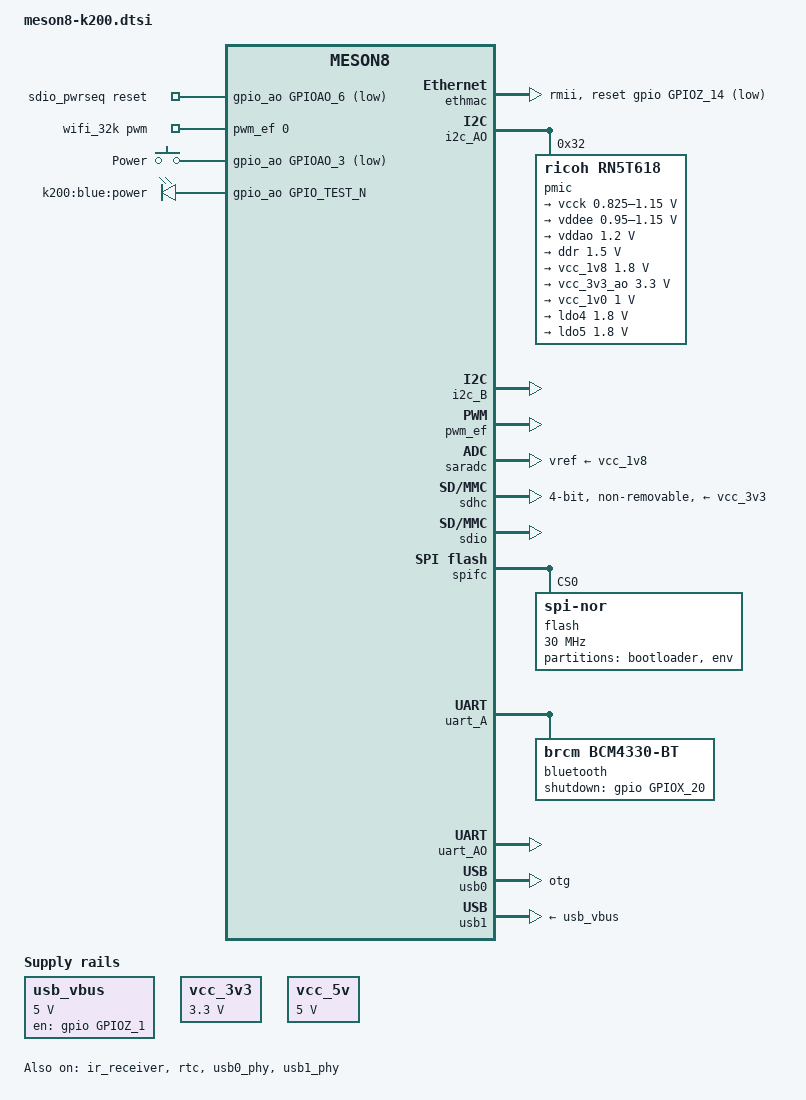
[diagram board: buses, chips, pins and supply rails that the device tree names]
// SPDX-License-Identifier: GPL-2.0 OR MIT
/*
 * Copyright 2025 Gianluca
 *
 * Common device tree for Amlogic Meson8 K200 TV Box variants
 *
 * Hardware:
 * - SoC: Amlogic S802 (Meson8) quad-core Cortex-A9
 * - Storage: 8GB NAND (Hynix H27UCG8T2E) - NOT eMMC!
 * - WiFi: Broadcom BCM40181A2 (AP6330 module) on SDIO
 * - Bluetooth: Broadcom BCM40183 (AP6330 combo)
 * - Ethernet: 10/100 internal PHY (PHY ID 02430c54)
 * - PMIC: Ricoh RN5T618F
 *
 * Note: NAND storage requires vendor FTL driver not available in mainline.
 * This DTS is suitable for netboot/NFS root or SD card boot.
 */

#include <dt-bindings/gpio/gpio.h>
#include <dt-bindings/input/input.h>
#include <dt-bindings/interrupt-controller/irq.h>

/ {
	aliases {
		serial0 = &uart_AO;
		mmc0 = &sd_card_slot;
		mmc1 = &sdhc;
	};

	chosen {
		stdout-path = "serial0:115200n8";
	};

	sdio_pwrseq: sdio-pwrseq {
		compatible = "mmc-pwrseq-simple";
		reset-gpios = <&gpio_ao GPIOAO_6 GPIO_ACTIVE_LOW>;
		clocks = <&wifi_32k>;
		clock-names = "ext_clock";
	};

	wifi_32k: wifi-32k {
		compatible = "pwm-clock";
		#clock-cells = <0>;
		clock-frequency = <32768>;
		pwms = <&pwm_ef 0 30518 0>; /* PWM_E at 32.768kHz */
	};

	gpio-keys {
		compatible = "gpio-keys-polled";
		poll-interval = <100>;

		power-button {
			label = "Power";
			linux,code = <KEY_POWER>;
			gpios = <&gpio_ao GPIOAO_3 GPIO_ACTIVE_LOW>;
		};
	};

	leds {
		compatible = "gpio-leds";

		led-blue {
			label = "k200:blue:power";
			gpios = <&gpio_ao GPIO_TEST_N GPIO_ACTIVE_HIGH>;
			default-state = "on";
			linux,default-trigger = "default-on";
		};
	};

	usb_vbus: regulator-usb-vbus {
		compatible = "regulator-fixed";
		regulator-name = "USB_VBUS";
		regulator-min-microvolt = <5000000>;
		regulator-max-microvolt = <5000000>;
		gpio = <&gpio GPIOZ_1 GPIO_ACTIVE_HIGH>;
		enable-active-high;
	};

	vcc_3v3: regulator-vcc3v3 {
		compatible = "regulator-fixed";
		regulator-name = "VCC3V3";
		regulator-min-microvolt = <3300000>;
		regulator-max-microvolt = <3300000>;
	};

	vcc_5v: regulator-vcc5v {
		compatible = "regulator-fixed";
		regulator-name = "VCC5V";
		regulator-min-microvolt = <5000000>;
		regulator-max-microvolt = <5000000>;
	};

	sound {
		compatible = "amlogic,gx-sound-card";
		model = "K200";
		assigned-clocks = <&clkc CLKID_MPLL0>,
				  <&clkc CLKID_MPLL1>;
		assigned-clock-rates = <294912000>,
				       <270950400>;
		status = "disabled"; /* Enable when audio codec is configured */

		dai-link-0 {
			sound-dai = <&aiu AIU_CPU CPU_I2S_FIFO>;
		};

		dai-link-1 {
			sound-dai = <&aiu AIU_CPU CPU_I2S_ENCODER>;
		};

		dai-link-2 {
			sound-dai = <&aiu AIU_HDMI CTRL_I2S>;
		};
	};
};

&aiu {
	status = "disabled"; /* Enable when audio is configured */
};

&ethmac {
	status = "okay";
	pinctrl-0 = <&eth_pins>;
	pinctrl-names = "default";
	phy-mode = "rmii";

	/* Internal PHY */
	snps,reset-gpio = <&gpio GPIOZ_14 GPIO_ACTIVE_LOW>;
	snps,reset-delays-us = <0 10000 1000000>;
	snps,reset-active-low;
};

&gpio {
	gpio-line-names =
		/* GPIOX bank */
		"WIFI_SD_D0", "WIFI_SD_D1", "WIFI_SD_D2", "WIFI_SD_D3",
		"I2S_SCLK", "I2S_LRCK", "I2S_DOUT", "I2S_DIN",
		"WIFI_SD_CLK", "WIFI_SD_CMD", "WIFI_32K", "WIFI_PWREN2",
		"UART_A_TX", "UART_A_RX", "UART_A_CTS", "UART_A_RTS",
		"", "", "", "",
		"BT_RST", "WIFI_IRQ",
		/* GPIOY bank */
		"DVB_D0", "DVB_D1", "", "SPDIF_OUT",
		"DVB_CLK", "DVB_RST", "", "",
		"DVB_VALID", "DVB_D2", "DVB_D3", "DVB_D4",
		"DVB_D5", "DVB_D6", "DVB_D7", "DVB_SYNC",
		"DVB_ERR",
		/* GPIODV bank */
		"", "", "", "", "", "", "", "",
		"", "", "", "", "", "", "", "",
		"", "", "", "", "", "", "", "",
		"", "", "", "", "", "",
		/* GPIOH bank */
		"HDMI_HPD", "HDMI_SDA", "HDMI_SCL", "",
		"", "", "", "", "", "",
		/* GPIOZ bank */
		"SD_WP", "USB_VBUS_EN", "I2C_B_SCK", "I2C_B_SDA",
		"", "", "", "", "", "",
		"", "", "", "", "ETH_RST",
		/* CARD bank */
		"SD_D1", "SD_D0", "SD_CLK", "SD_CMD",
		"SD_D3", "SD_D2", "SD_CD",
		/* BOOT bank - NAND Flash (Hynix H27UCG8T2E 8GB) */
		"NAND_D0", "NAND_D1", "NAND_D2", "NAND_D3",
		"NAND_D4", "NAND_D5", "NAND_D6", "NAND_D7",
		"NAND_CE0", "NAND_CE1", "NAND_RB0",
		"NOR_D", "NOR_Q", "NOR_C",
		"", "NAND_DQS", "NAND_RE_WR", "NAND_ALE_CLE",
		"NOR_CS";
};

&gpio_ao {
	gpio-line-names =
		"UART_AO_TX", "UART_AO_RX", "", "PWR_BTN",
		"I2C_AO_SCK", "I2C_AO_SDA", "WIFI_PWREN", "IR_IN",
		"I2S_AO_SCLK", "I2S_AO_LRCK", "I2S_AO_DOUT", "I2S_AO_DIN",
		"", "", "GPIO_BSD_EN", "LED_BLUE";
};

&i2c_AO {
	status = "okay";
	pinctrl-0 = <&i2c_ao_pins>;
	pinctrl-names = "default";

	pmic@32 {
		compatible = "ricoh,rn5t618";
		reg = <0x32>;
		system-power-controller;

		regulators {
			vcck: DCDC1 {
				regulator-name = "VCCK";
				regulator-min-microvolt = <825000>;
				regulator-max-microvolt = <1150000>;
				regulator-boot-on;
				regulator-always-on;
			};

			vddee: DCDC2 {
				regulator-name = "VDDEE";
				regulator-min-microvolt = <950000>;
				regulator-max-microvolt = <1150000>;
				regulator-boot-on;
				regulator-always-on;
			};

			vddao: DCDC3 {
				regulator-name = "VDDAO";
				regulator-min-microvolt = <1200000>;
				regulator-max-microvolt = <1200000>;
				regulator-boot-on;
				regulator-always-on;
			};

			ddr: DCDC4 {
				regulator-name = "DDR";
				regulator-min-microvolt = <1500000>;
				regulator-max-microvolt = <1500000>;
				regulator-boot-on;
				regulator-always-on;
			};

			vcc_1v8: LDO1 {
				regulator-name = "VCC1V8";
				regulator-min-microvolt = <1800000>;
				regulator-max-microvolt = <1800000>;
				regulator-boot-on;
				regulator-always-on;
			};

			vcc_3v3_ao: LDO2 {
				regulator-name = "VCC3V3_AO";
				regulator-min-microvolt = <3300000>;
				regulator-max-microvolt = <3300000>;
				regulator-boot-on;
				regulator-always-on;
			};

			vcc_1v0: LDO3 {
				regulator-name = "VCC1V0";
				regulator-min-microvolt = <1000000>;
				regulator-max-microvolt = <1000000>;
				regulator-boot-on;
				regulator-always-on;
			};

			ldo4: LDO4 {
				regulator-name = "LDO4";
				regulator-min-microvolt = <1800000>;
				regulator-max-microvolt = <1800000>;
			};

			ldo5: LDO5 {
				regulator-name = "LDO5";
				regulator-min-microvolt = <1800000>;
				regulator-max-microvolt = <1800000>;
			};
		};
	};
};

&i2c_B {
	status = "okay";
	pinctrl-0 = <&i2c_b_pins>;
	pinctrl-names = "default";

	/*
	 * DVB demodulator: AVL6211
	 * The AVL6211 is not supported in mainline.
	 * I2C address: 0x60 (7-bit)
	 */
};

&ir_receiver {
	status = "okay";
	pinctrl-0 = <&ir_recv_pins>;
	pinctrl-names = "default";
};

&pwm_ef {
	status = "okay";
	pinctrl-0 = <&pwm_e_pins>;
	pinctrl-names = "default";
};

&rtc {
	status = "okay";
};

&saradc {
	status = "okay";
	vref-supply = <&vcc_1v8>;
};

/*
 * Note: This device has 8GB NAND (Hynix H27UCG8T2E) instead of eMMC.
 * The NAND uses a vendor-specific FTL not supported in mainline.
 * Boot from SD card or network is required for mainline.
 */

/*
 * SDIO WiFi: Broadcom BCM40181A2 (AP6330 module)
 * Uses the SDHC controller with SDXC_A pins
 */
&sdhc {
	status = "okay";

	pinctrl-0 = <&sdxc_a_pins>;
	pinctrl-names = "default";

	bus-width = <4>;
	max-frequency = <50000000>;

	disable-wp;
	non-removable;
	cap-mmc-highspeed;
	cap-sd-highspeed;

	mmc-pwrseq = <&sdio_pwrseq>;

	vmmc-supply = <&vcc_3v3>;
	vqmmc-supply = <&vcc_3v3>;
};

/* SD card slot */
&sdio {
	status = "okay";

	pinctrl-0 = <&sd_b_pins>;
	pinctrl-names = "default";

	sd_card_slot: slot@1 {
		compatible = "mmc-slot";
		reg = <1>;
		status = "okay";

		bus-width = <4>;
		no-sdio;
		cap-mmc-highspeed;
		cap-sd-highspeed;
		disable-wp;

		cd-gpios = <&gpio CARD_6 GPIO_ACTIVE_LOW>;

		vmmc-supply = <&vcc_3v3>;
	};
};

&spifc {
	status = "okay";
	pinctrl-0 = <&spi_nor_pins>;
	pinctrl-names = "default";

	flash@0 {
		compatible = "jedec,spi-nor";
		#address-cells = <1>;
		#size-cells = <1>;
		reg = <0>;
		spi-max-frequency = <30000000>;

		partitions {
			compatible = "fixed-partitions";
			#address-cells = <1>;
			#size-cells = <1>;

			partition@0 {
				label = "bootloader";
				reg = <0x0 0x100000>;
				read-only;
			};

			partition@100000 {
				label = "env";
				reg = <0x100000 0x10000>;
			};
		};
	};
};

&uart_A {
	status = "okay";
	pinctrl-0 = <&uart_a1_pins>, <&uart_a1_cts_rts_pins>;
	pinctrl-names = "default";
	uart-has-rtscts;

	/* Bluetooth: BCM40183 (AP6330 combo module) */
	bluetooth {
		compatible = "brcm,bcm4330-bt";
		shutdown-gpios = <&gpio GPIOX_20 GPIO_ACTIVE_HIGH>;
		max-speed = <2000000>;
		clocks = <&wifi_32k>;
		clock-names = "lpo";
	};
};

&uart_AO {
	status = "okay";
	pinctrl-0 = <&uart_ao_a_pins>;
	pinctrl-names = "default";
};

&usb0 {
	status = "okay";
	dr_mode = "otg";
};

&usb0_phy {
	status = "okay";
};

&usb1 {
	status = "okay";
	vbus-supply = <&usb_vbus>;
};

&usb1_phy {
	status = "okay";
};
